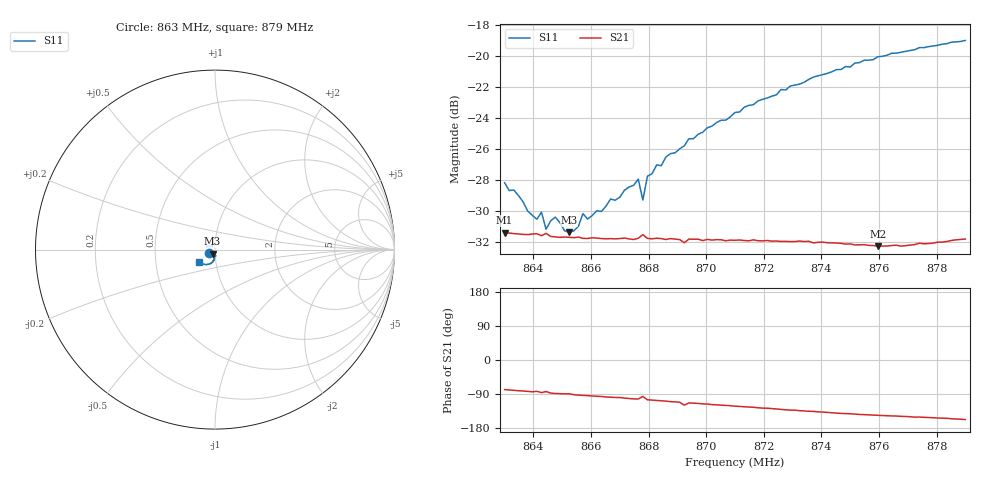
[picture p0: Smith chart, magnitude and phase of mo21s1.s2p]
# HZ S RI R 50
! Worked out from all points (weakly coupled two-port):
!   101 points, 863 MHz to 879 MHz, reference 50 ohm
!   highest |S21| = -31.36 dB at 863 MHz (marker M1); lowest = -32.2 dB at 875.96 MHz (marker M2)
!   lowest |S11| = -31.4 dB at 865.24 MHz (marker M3), VSWR 1.06, Z = 48.6 - j2.27 ohm
!   |S11| at or under -10 dB: start of sweep to end of sweep
!   S12 and S22 are empty: the file has one direction only
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8.63e8  -0.034 -0.0193  0.00566 -0.0264  0 0  0 0
8.6412e8  -0.0245 -0.0171  0.00346 -0.0266  0 0  0 0
8.6428e8  -0.0223 -0.0222  0.00181 -0.0263  0 0  0 0
8.6444e8  -0.0194 -0.0198  0.00316 -0.0267  0 0  0 0
8.6476e8  -0.0198 -0.023  0.000705 -0.0262  0 0  0 0
8.6524e8  -0.0137 -0.0233  0.000504 -0.0261  0 0  0 0
8.6556e8  -0.0129 -0.0252  -0.00122 -0.0261  0 0  0 0
8.6572e8  -0.0135 -0.028  -0.00151 -0.0258  0 0  0 0
8.6588e8  -0.0118 -0.0274  -0.00179 -0.0258  0 0  0 0
8.6636e8  -0.0106 -0.0298  -0.0028 -0.0257  0 0  0 0
8.6668e8  -0.00936 -0.0334  -0.0037 -0.0256  0 0  0 0
8.67e8  -0.00652 -0.0345  -0.00411 -0.0255  0 0  0 0
8.6764e8  -0.00571 -0.0397  -0.00582 -0.0252  0 0  0 0
8.678e8  0.00499 -0.034  -0.00281 -0.0265  0 0  0 0
8.6796e8  -0.00394 -0.0408  -0.00679 -0.025  0 0  0 0
8.6844e8  -0.00432 -0.0441  -0.00783 -0.0246  0 0  0 0
8.694e8  -0.00553 -0.0539  -0.0102 -0.0237  0 0  0 0
8.71e8  -0.00912 -0.0651  -0.0135 -0.0217  0 0  0 0
8.7372e8  -0.0285 -0.0805  -0.0179 -0.0175  0 0  0 0
8.7596e8  -0.0531 -0.0839  -0.0202 -0.0137  0 0  0 0
8.7644e8  -0.06 -0.0824  -0.0207 -0.0132  0 0  0 0
8.79e8  -0.0881 -0.0692  -0.0237 -0.01  0 0  0 0
